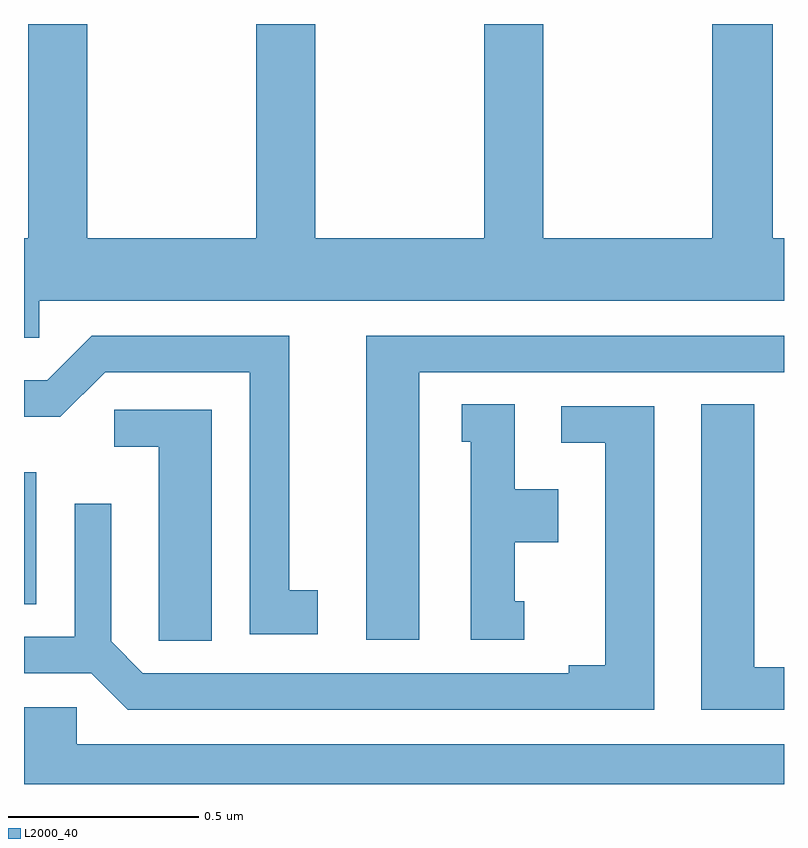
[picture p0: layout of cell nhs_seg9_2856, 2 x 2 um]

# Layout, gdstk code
import gdstk
lib = gdstk.Library(unit=1e-6, precision=1e-09)
def R(c, l, rs):  # rectangles x0, y0, x1, y1
    for r in rs: c.add(gdstk.rectangle(r[:2], r[2:], *l))
def P(c, l, *ps):  # polygons
    for p in ps: c.add(gdstk.Polygon(p, *l))
L2000_40 = (2000, 40)

nhs_seg9_2856 = lib.new_cell('nhs_seg9_2856')
R(nhs_seg9_2856, L2000_40, [(146,1176.973,146.032,1177.321)])
P(nhs_seg9_2856, L2000_40, [(146.04,1177.772),(148,1177.772),(148,1177.936),(147.971,1177.936),(147.971,1178.5),(147.811,1178.5),(147.811,1177.936),(147.366,1177.936),(147.366,1178.5),(147.211,1178.5),(147.211,1177.936),(146.766,1177.936),(146.766,1178.5),(146.611,1178.5),(146.611,1177.936),(146.166,1177.936),(146.166,1178.5),(146.011,1178.5),(146.011,1177.936),(146,1177.936),(146,1177.674),(146.04,1177.674)],
  [(147.04,1177.584),(148,1177.584),(148,1177.68),(146.9,1177.68),(146.9,1176.879),(147.04,1176.879)],
  [(146.773,1177.01),(146.698,1177.01),(146.698,1177.68),(146.178,1177.68),(146.061,1177.563),(146,1177.563),(146,1177.466),(146.096,1177.466),(146.214,1177.584),(146.594,1177.584),(146.594,1176.894),(146.773,1176.894)],
  [(147.316,1176.981),(147.292,1176.981),(147.292,1177.136),(147.406,1177.136),(147.406,1177.276),(147.292,1177.276),(147.292,1177.499),(147.152,1177.499),(147.152,1177.401),(147.176,1177.401),(147.176,1176.879),(147.316,1176.879)],
  [(148,1176.807),(147.922,1176.807),(147.922,1177.499),(147.782,1177.499),(147.782,1176.696),(148,1176.696)],
  [(147.658,1177.494),(147.414,1177.494),(147.414,1177.398),(147.53,1177.398),(147.53,1176.812),(147.434,1176.812),(147.434,1176.792),(146.313,1176.792),(146.229,1176.876),(146.229,1177.237),(146.133,1177.237),(146.133,1176.888),(146,1176.888),(146,1176.792),(146.177,1176.792),(146.273,1176.696),(147.658,1176.696)],
  [(146.494,1177.485),(146.238,1177.485),(146.238,1177.388),(146.354,1177.388),(146.354,1176.985),(146.355,1176.985),(146.355,1176.877),(146.494,1176.877)],
  [(148,1176.604),(146.139,1176.604),(146.139,1176.702),(146.001,1176.702),(146.001,1176.604),(146,1176.604),(146,1176.5),(148,1176.5)])

lib.write_gds('nhs_seg9_2856.gds')
